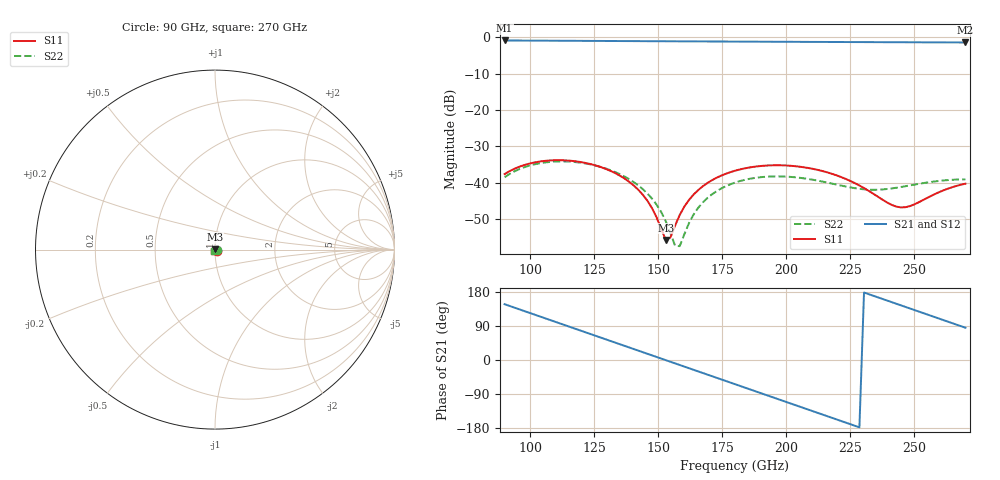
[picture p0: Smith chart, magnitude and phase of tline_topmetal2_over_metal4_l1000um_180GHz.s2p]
#  GHZ S DB R 50
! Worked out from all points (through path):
!   101 points, 90 GHz to 270 GHz, reference 50 ohm
!   highest |S21| = -0.86 dB at 90 GHz (marker M1); lowest = -1.4 dB at 270 GHz (marker M2)
!   group delay of S21, straight-line fit = 6.51 ps
!   lowest |S11| = -55.7 dB at 153 GHz (marker M3), VSWR 1.00, Z = 50 + j0.163 ohm
!   |S11| at or under -10 dB: start of sweep to end of sweep
!   |S22| runs from -57.4 to -34.1 dB; largest |S21 - S12| = 1e-13
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90  -37.58 -24.2  -0.86 147.2  -0.86 147.2  -38.45 -23.7
106.2  -33.93 -68.9  -0.92 109.2  -0.92 109.2  -34.36 -69.3
120.6  -34.39 -107.9  -0.97 75.4  -0.97 75.4  -34.55 -108.7
129.6  -36.19 -133.1  -1.00 54.3  -1.00 54.3  -36.07 -133.8
140.4  -40.70 -165.9  -1.04 29.0  -1.04 29.0  -39.77 -165.7
145.8  -44.93 173.2  -1.06 16.4  -1.06 16.4  -42.94 176.3
151.2  -52.74 131.5  -1.08 3.7  -1.08 3.7  -48.05 153.0
153  -55.71 95.0  -1.08 -0.5  -1.08 -0.5  -50.60 141.3
154.8  -54.98 47.8  -1.09 -4.7  -1.09 -4.7  -53.84 123.3
156.6  -51.74 18.0  -1.09 -8.9  -1.09 -8.9  -57.29 89.7
158.4  -48.83 1.3  -1.10 -13.2  -1.10 -13.2  -57.40 39.7
162  -44.72 -18.6  -1.11 -21.6  -1.11 -21.6  -51.10 -12.2
167.4  -40.95 -39.1  -1.13 -34.3  -1.13 -34.3  -45.39 -41.0
180  -36.67 -78.2  -1.17 -63.8  -1.17 -63.8  -39.93 -84.9
194.4  -35.18 -120.7  -1.21 -97.6  -1.21 -97.6  -38.24 -132.2
210.6  -36.17 -170.2  -1.26 -135.5  -1.26 -135.5  -39.17 168.6
219.6  -37.92 159.8  -1.28 -156.6  -1.28 -156.6  -40.46 129.3
226.8  -40.07 132.7  -1.30 -173.5  -1.30 -173.5  -41.46 92.8
241.2  -46.05 51.3  -1.34 152.7  -1.34 152.7  -41.53 12.8
246.6  -46.69 5.2  -1.35 140.1  -1.35 140.1  -40.92 -14.9
255.6  -43.95 -57.9  -1.38 119.0  -1.38 119.0  -39.85 -56.0
270  -40.23 -120.1  -1.41 85.2  -1.41 85.2  -39.04 -113.9
